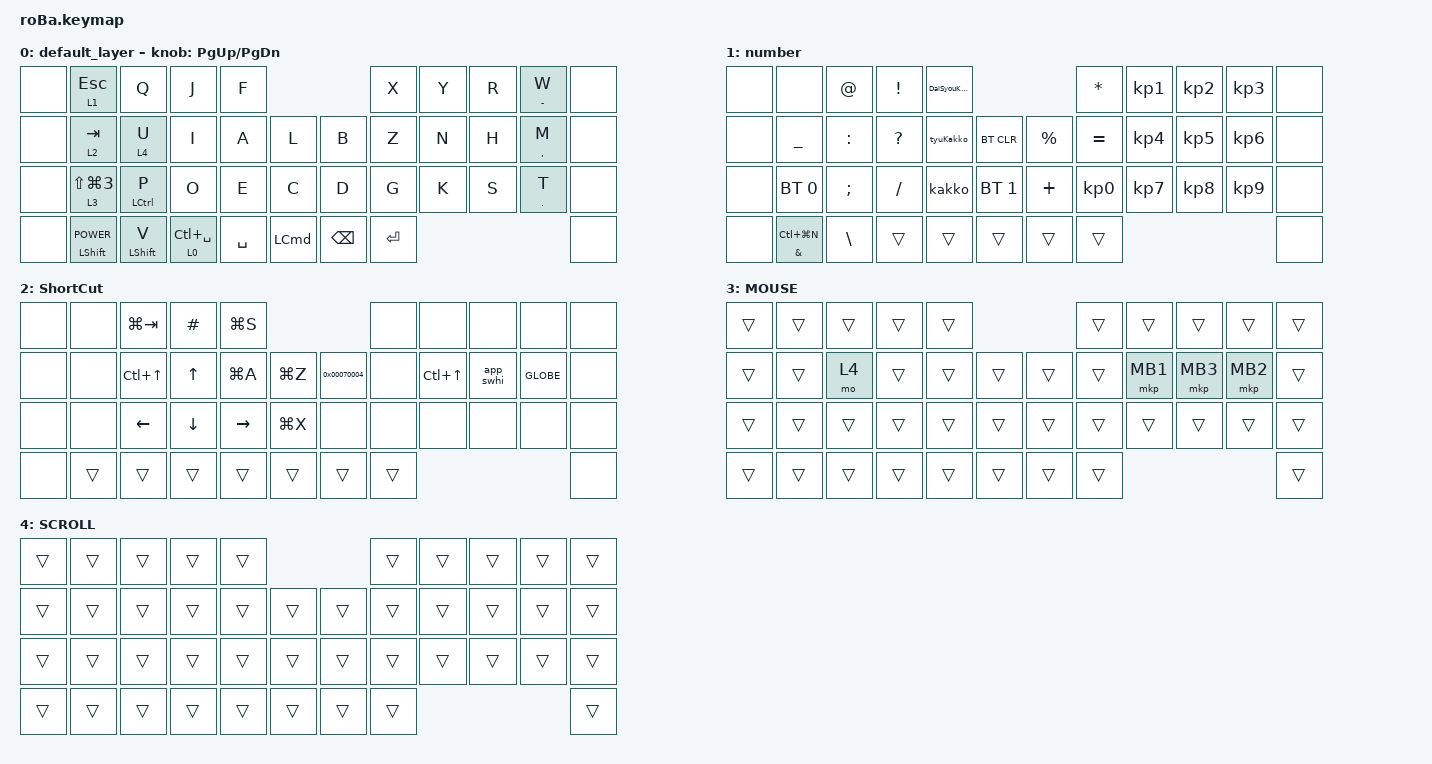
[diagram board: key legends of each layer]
#include <behaviors.dtsi>
#include <dt-bindings/zmk/bt.h>
#include <dt-bindings/zmk/keys.h>
#include <dt-bindings/zmk/pointing.h>

&mt {
    flavor = "balanced";
    quick-tap-ms = <0>;
};

&trackball {
    automouse-layer = <3>;
    scroll-layers = <4>;

    // arrows {
    //     layers = <3>;
    //     bindings =
    //         <&kp RIGHT_ARROW>,
    //         <&kp LEFT_ARROW>,
    //         <&kp UP_ARROW>,
    //         <&kp DOWN_ARROW>;
    //     tick = <10>;
    //     wait-ms = <5>;
    //     tap-ms = <5>;
    // };
};

/ {
    combos {
        compatible = "zmk,combos";

        tab {
            bindings = <&kp TAB>;
            key-positions = <11 12>;
        };

        shift_tab {
            bindings = <&kp LS(TAB)>;
            key-positions = <12 13>;
        };

        muhennkann {
            bindings = <&to_layer_0 INT_MUHENKAN>;
            key-positions = <11 10>;
        };

        double_quotation {
            bindings = <&kp DOUBLE_QUOTES>;
            key-positions = <20 21>;
        };

        eq {
            bindings = <&kp EQUAL>;
            key-positions = <24 25>;
        };
    };

    macros {
        to_layer_0: to_layer_0 {
            compatible = "zmk,behavior-macro-one-param";
            #binding-cells = <1>;
            bindings = <&to 0 &macro_param_1to1 &kp MACRO_PLACEHOLDER>;
            label = "TO_LAYER_0";
        };

        ipad_home: ipad_home {
            compatible = "zmk,behavior-macro";
            #binding-cells = <0>;
            bindings =
                <&none>,
                <&macro_press>,
                <&kp GLOBE>,
                <&macro_tap>,
                <&kp H>,
                <&macro_release>,
                <&kp GLOBE>;

            label = "IPAD_HOME";
        };

        ipad_dock: ipad_dock {
            compatible = "zmk,behavior-macro";
            #binding-cells = <0>;
            bindings =
                <&none>,
                <&macro_press>,
                <&kp GLOBE>,
                <&macro_tap>,
                <&kp A>,
                <&macro_release>,
                <&kp GLOBE>;

            label = "IPAD_DOCK";
        };

        control_center: control_center {
            compatible = "zmk,behavior-macro";
            #binding-cells = <0>;
            bindings =
                <&none>,
                <&macro_press>,
                <&kp GLOBE>,
                <&macro_tap>,
                <&kp C>,
                <&macro_release>,
                <&kp GLOBE>;

            label = "CONTROL_CENTER";
        };

        ROCK: ROCK {
            compatible = "zmk,behavior-macro";
            #binding-cells = <0>;
            bindings =
                <&none>,
                <&macro_press>,
                <&kp GLOBE>,
                <&macro_tap>,
                <&kp N>,
                <&macro_release>,
                <&kp GLOBE>;

            label = "ROCK";
        };

        ipad_fullscreen: ipad_fullscreen {
            compatible = "zmk,behavior-macro";
            #binding-cells = <0>;
            bindings =
                <&none>,
                <&macro_press>,
                <&kp GLOBE>,
                <&macro_tap>,
                <&kp F>,
                <&macro_release>,
                <&kp GLOBE>;

            label = "IPAD_FULLSCREEN";
        };

        app_swhi: app_swhi {
            compatible = "zmk,behavior-macro";
            #binding-cells = <0>;
            bindings =
                <&none>,
                <&macro_press>,
                <&kp GLOBE>,
                <&macro_tap>,
                <&kp UP_ARROW>,
                <&macro_press>,
                <&kp GLOBE>;

            label = "APP_SWHI";
        };

        kakko: kakko {
            compatible = "zmk,behavior-macro";
            #binding-cells = <0>;
            bindings =
                <&none>,
                <&macro_tap>,
                <&kp LPAR &kp RPAR &kp LEFT_ARROW>;

            label = "KAKKO";
        };

        tyuKakko: tyuKakko {
            compatible = "zmk,behavior-macro";
            #binding-cells = <0>;
            bindings =
                <&none>,
                <&macro_tap>,
                <&kp LEFT_BRACE &kp RIGHT_BRACE &kp LEFT_ARROW>;

            label = "TYUKAKKO";
        };

        DaiSyouKakko: DaiSyouKakko {
            compatible = "zmk,behavior-macro";
            #binding-cells = <0>;
            bindings =
                <&none>,
                <&macro_tap>,
                <&kp LESS_THAN &kp GREATER_THAN &kp LEFT_ARROW>;

            label = "DAISYOUKAKKO";
        };
    };

    behaviors {
        lt_to_layer_0: lt_to_layer_0 {
            compatible = "zmk,behavior-hold-tap";
            label = "LAYER_TAP_TO_0";
            bindings = <&mo>, <&to_layer_0>;

            #binding-cells = <2>;
            tapping-term-ms = <200>;
        };
    };

    keymap {
        compatible = "zmk,keymap";

        default_layer {
            bindings = <
&none  &lt 1 ESCAPE            &kp Q               &kp J            &kp F                                           &kp X      &kp Y  &kp R  &mt MINUS W   &none
&none  &lt 2 TAB               &lt 4 U             &kp I            &kp A      &kp L                 &kp B          &kp Z      &kp N  &kp H  &mt COMMA M   &none
&none  &lt 3 LS(LG(N3))        &mt LEFT_CONTROL P  &kp O            &kp E      &kp C                 &kp D          &kp G      &kp K  &kp S  &mt PERIOD T  &none
&none  &mt LEFT_SHIFT K_POWER  &mt LSHFT V         &lt 0 LC(SPACE)  &kp SPACE  &kp LEFT_COMMAND      &kp BACKSPACE  &kp ENTER                              &none
            >;

            sensor-bindings = <&inc_dec_kp PG_UP PAGE_DOWN>;
        };

        number {
            bindings = <
&none  &none                    &kp AT_SIGN    &kp EXCLAMATION  &DaiSyouKakko                                 &kp ASTERISK     &kp KP_NUMBER_1  &kp KP_NUMBER_2  &kp KP_NUMBER_3  &none
&none  &kp UNDERSCORE           &kp COLON      &kp QUESTION     &tyuKakko      &bt BT_CLR        &kp PERCENT  &kp EQUAL        &kp KP_NUMBER_4  &kp KP_NUMBER_5  &kp KP_NUMBER_6  &none
&none  &bt BT_SEL 0             &kp SEMICOLON  &kp SLASH        &kakko         &bt BT_SEL 1      &kp PLUS     &kp KP_NUMBER_0  &kp KP_NUMBER_7  &kp KP_NUMBER_8  &kp KP_NUMBER_9  &none
&none  &mt AMPERSAND LC(LG(N))  &kp BACKSLASH  &trans           &trans         &trans            &trans       &trans                                                              &none
            >;
        };

        ShortCut {
            bindings = <
&none  &none   &kp LG(TAB)       &kp HASH        &kp LG(S)                               &none   &none             &none      &none      &none
&none  &none   &kp LC(UP_ARROW)  &kp UP_ARROW    &kp LG(A)        &kp LG(Z)      &kp 0x00070004   &none   &kp LC(UP_ARROW)  &app_swhi  &kp GLOBE  &none
&none  &none   &kp LEFT_ARROW    &kp DOWN_ARROW  &kp RIGHT_ARROW  &kp LG(X)      &none   &none   &none             &none      &none      &none
&none  &trans  &trans            &trans          &trans           &trans         &trans  &trans                                          &none
            >;
        };

        MOUSE {
            bindings = <
&trans  &trans  &trans  &trans  &trans                      &trans  &trans    &trans    &trans    &trans
&trans  &trans  &mo 4   &trans  &trans  &trans      &trans  &trans  &mkp MB1  &mkp MB3  &mkp MB2  &trans
&trans  &trans  &trans  &trans  &trans  &trans      &trans  &trans  &trans    &trans    &trans    &trans
&trans  &trans  &trans  &trans  &trans  &trans      &trans  &trans                                &trans
            >;
        };

        SCROLL {
            bindings = <
&trans  &trans  &trans  &trans  &trans                      &trans  &trans  &trans  &trans  &trans
&trans  &trans  &trans  &trans  &trans  &trans      &trans  &trans  &trans  &trans  &trans  &trans
&trans  &trans  &trans  &trans  &trans  &trans      &trans  &trans  &trans  &trans  &trans  &trans
&trans  &trans  &trans  &trans  &trans  &trans      &trans  &trans                          &trans
            >;
        };
    };
};
